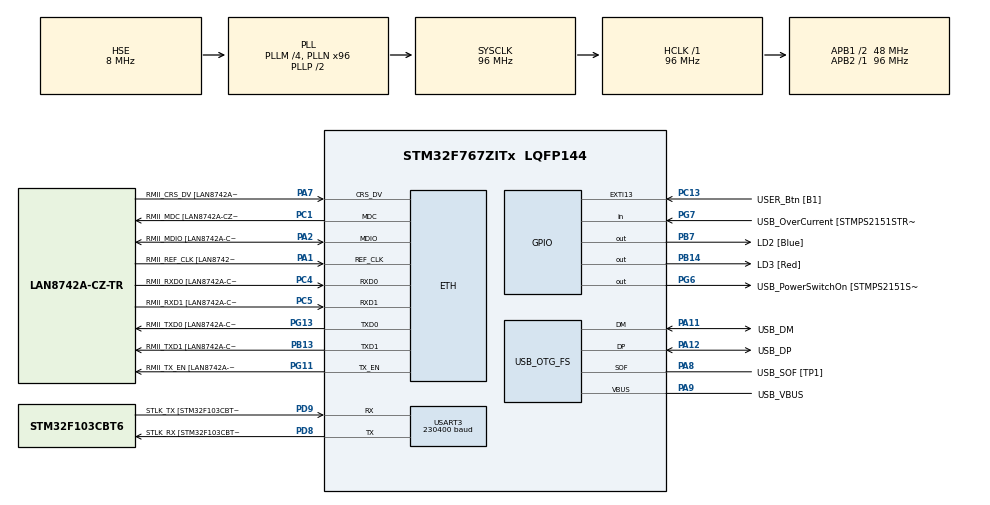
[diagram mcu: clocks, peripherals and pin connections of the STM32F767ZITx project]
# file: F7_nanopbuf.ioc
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Dma.Request0=USART3_RX
Dma.Request1=USART3_TX
Dma.USART3_RX.0.Direction=DMA_PERIPH_TO_MEMORY
Dma.USART3_RX.0.FIFOMode=DMA_FIFOMODE_DISABLE
Dma.USART3_RX.0.Instance=DMA1_Stream1
Dma.USART3_RX.0.MemDataAlignment=DMA_MDATAALIGN_BYTE
Dma.USART3_RX.0.MemInc=DMA_MINC_ENABLE
Dma.USART3_RX.0.Mode=DMA_NORMAL
Dma.USART3_RX.0.PeriphDataAlignment=DMA_PDATAALIGN_BYTE
Dma.USART3_RX.0.PeriphInc=DMA_PINC_DISABLE
Dma.USART3_RX.0.Priority=DMA_PRIORITY_LOW
Dma.USART3_TX.1.Direction=DMA_MEMORY_TO_PERIPH
Dma.USART3_TX.1.FIFOMode=DMA_FIFOMODE_DISABLE
Dma.USART3_TX.1.Instance=DMA1_Stream3
Dma.USART3_TX.1.MemDataAlignment=DMA_MDATAALIGN_BYTE
Dma.USART3_TX.1.MemInc=DMA_MINC_ENABLE
Dma.USART3_TX.1.Mode=DMA_NORMAL
Dma.USART3_TX.1.PeriphDataAlignment=DMA_PDATAALIGN_BYTE
Dma.USART3_TX.1.PeriphInc=DMA_PINC_DISABLE
Dma.USART3_TX.1.Priority=DMA_PRIORITY_LOW
ETH.MediaInterface=ETH_MEDIA_INTERFACE_RMII
ETH.PHY_Name=LAN8742A_PHY_ADDRESS
ETH.PHY_Value=0
ETH.PhyAddress=0
FREERTOS.MEMORY_ALLOCATION=2
FREERTOS.Tasks01=defaultTask,0,512,StartDefaultTask,Default,NULL,Static,defaultTaskBuffer,defaultTaskControlBlock
Mcu.Family=STM32F7
Mcu.Name=STM32F767ZITx
Mcu.Package=LQFP144
NVIC.DMA1_Stream1_IRQn=true\:5\:0\:false\:false\:true\:true\:false
NVIC.DMA1_Stream3_IRQn=true\:5\:0\:false\:false\:true\:true\:false
NVIC.PriorityGroup=NVIC_PRIORITYGROUP_4
NVIC.TIM1_UP_TIM10_IRQn=true\:0\:0\:false\:false\:true\:false\:false
NVIC.TimeBase=TIM1_UP_TIM10_IRQn
NVIC.TimeBaseIP=TIM1
NVIC.USART3_IRQn=true\:5\:0\:false\:false\:true\:true\:true
PA1.GPIO_Label=RMII_REF_CLK [LAN8742A-CZ-TR_REFCLK0]
PA1.Mode=RMII
PA1.Signal=ETH_REF_CLK
PA10.GPIO_Label=USB_ID
PA10.Signal=USB_OTG_FS_ID
PA11.GPIO_Label=USB_DM
PA11.Mode=Device_Only
PA11.Signal=USB_OTG_FS_DM
PA12.GPIO_Label=USB_DP
PA12.Mode=Device_Only
PA12.Signal=USB_OTG_FS_DP
PA13.GPIO_Label=TMS
PA13.Mode=Serial_Wire
PA13.Signal=SYS_JTMS-SWDIO
PA14.GPIO_Label=TCK
PA14.Mode=Serial_Wire
PA14.Signal=SYS_JTCK-SWCLK
PA2.GPIO_Label=RMII_MDIO [LAN8742A-CZ-TR_MDIO]
PA2.Mode=RMII
PA2.Signal=ETH_MDIO
PA7.GPIO_Label=RMII_CRS_DV [LAN8742A-CZ-TR_CRS_DV]
PA7.Mode=RMII
PA7.Signal=ETH_CRS_DV
PA8.GPIO_Label=USB_SOF [TP1]
PA8.Mode=Activate_SOF_FS
PA8.Signal=USB_OTG_FS_SOF
PA9.GPIO_Label=USB_VBUS
PA9.Mode=Activate_VBUS
PA9.Signal=USB_OTG_FS_VBUS
PB13.GPIO_Label=RMII_TXD1 [LAN8742A-CZ-TR_TXD1]
PB13.Mode=RMII
PB13.Signal=ETH_TXD1
PB14.GPIO_Label=LD3 [Red]
PB14.Signal=GPIO_Output
PB3.GPIO_Label=SWO
PB3.Signal=SYS_JTDO-SWO
PB7.GPIO_Label=LD2 [Blue]
PB7.Signal=GPIO_Output
PC1.GPIO_Label=RMII_MDC [LAN8742A-CZ-TR_MDC]
PC1.Mode=RMII
PC1.Signal=ETH_MDC
PC13.GPIO_Label=USER_Btn [B1]
PC13.Signal=GPXTI13
PC14/OSC32_IN.Mode=LSE-External-Oscillator
PC14/OSC32_IN.Signal=RCC_OSC32_IN
PC15/OSC32_OUT.Mode=LSE-External-Oscillator
PC15/OSC32_OUT.Signal=RCC_OSC32_OUT
PC4.GPIO_Label=RMII_RXD0 [LAN8742A-CZ-TR_RXD0]
PC4.Mode=RMII
PC4.Signal=ETH_RXD0
PC5.GPIO_Label=RMII_RXD1 [LAN8742A-CZ-TR_RXD1]
PC5.Mode=RMII
PC5.Signal=ETH_RXD1
PD8.GPIO_Label=STLK_RX [STM32F103CBT6_PA3]
PD8.Mode=Asynchronous
PD8.Signal=USART3_TX
PD9.GPIO_Label=STLK_TX [STM32F103CBT6_PA2]
PD9.Mode=Asynchronous
PD9.Signal=USART3_RX
PG11.GPIO_Label=RMII_TX_EN [LAN8742A-CZ-TR_TXEN]
PG11.Mode=RMII
PG11.Signal=ETH_TX_EN
PG13.GPIO_Label=RMII_TXD0 [LAN8742A-CZ-TR_TXD0]
PG13.Mode=RMII
PG13.Signal=ETH_TXD0
PG6.GPIO_Label=USB_PowerSwitchOn [STMPS2151STR_EN]
PG6.Signal=GPIO_Output
PG7.GPIO_Label=USB_OverCurrent [STMPS2151STR_FAULT]
PG7.Signal=GPIO_Input
PH0/OSC_IN.GPIO_Label=MCO [STM32F103CBT6_PA8]
PH0/OSC_IN.Mode=HSE-External-Clock-Source
PH0/OSC_IN.Signal=RCC_OSC_IN
PH1/OSC_OUT.Mode=HSE-External-Clock-Source
PH1/OSC_OUT.Signal=RCC_OSC_OUT
ProjectManager.HeapSize=0x200
ProjectManager.StackSize=0x400
ProjectManager.TargetToolchain=SW4STM32
RCC.48MHZClocksFreq_Value=24000000
RCC.AHBFreq_Value=96000000
RCC.APB1CLKDivider=RCC_HCLK_DIV2
RCC.APB1Freq_Value=48000000
RCC.APB1TimFreq_Value=96000000
RCC.APB2Freq_Value=96000000
RCC.APB2TimFreq_Value=96000000
RCC.CortexFreq_Value=96000000
RCC.HCLKFreq_Value=96000000
RCC.HSE_VALUE=8000000
RCC.HSI_VALUE=16000000
RCC.PLLM=4
RCC.PLLMUL=RCC_PLL_MUL9
RCC.PLLN=96
RCC.PLLQ=4
RCC.PRESCALERUSB=RCC_USBCLKSOURCE_PLL_DIV1_5
RCC.SYSCLKFreq_VALUE=96000000
RCC.SYSCLKSource=RCC_SYSCLKSOURCE_PLLCLK
RCC.SYSCLKSourceVirtual=RCC_SYSCLKSOURCE_PLLCLK
RCC.USBFreq_Value=48000000
RCC.VCOOutputFreq_Value=192000000
USART3.BaudRate=230400
USART3.VirtualMode-Asynchronous=VM_ASYNC
USB_OTG_FS.VirtualMode=Device_Only
VP_FREERTOS_VS_ENABLE.Mode=Enabled
VP_SYS_VS_tim1.Mode=TIM1
board=NUCLEO-F767ZI

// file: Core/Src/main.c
/**
  ******************************************************************************
  * @file           : main.c
  * @brief          : Main program body
  ******************************************************************************
  * This notice applies to any and all portions of this file
  * that are not between comment pairs USER CODE BEGIN and
  * USER CODE END. Other portions of this file, whether
  * inserted by the user or by software development tools
  * are owned by their respective copyright owners.
  *
  * Copyright (c) 2019 STMicroelectronics International N.V.
  * All rights reserved.
  *
  * Redistribution and use in source and binary forms, with or without
  * modification, are permitted, provided that the following conditions are met:
  *
  * 1. Redistribution of source code must retain the above copyright notice,
  *    this list of conditions and the following disclaimer.
  * 2. Redistributions in binary form must reproduce the above copyright notice,
  *    this list of conditions and the following disclaimer in the documentation
  *    and/or other materials provided with the distribution.
  * 3. Neither the name of STMicroelectronics nor the names of other
  *    contributors to this software may be used to endorse or promote products
  *    derived from this software without specific written permission.
  * 4. This software, including modifications and/or derivative works of this
  *    software, must execute solely and exclusively on microcontroller or
  *    microprocessor devices manufactured by or for STMicroelectronics.
  * 5. Redistribution and use of this software other than as permitted under
  *    this license is void and will automatically terminate your rights under
  *    this license.
  *
  * THIS SOFTWARE IS PROVIDED BY STMICROELECTRONICS AND CONTRIBUTORS "AS IS"
  * AND ANY EXPRESS, IMPLIED OR STATUTORY WARRANTIES, INCLUDING, BUT NOT
  * LIMITED TO, THE IMPLIED WARRANTIES OF MERCHANTABILITY, FITNESS FOR A
  * PARTICULAR PURPOSE AND NON-INFRINGEMENT OF THIRD PARTY INTELLECTUAL PROPERTY
  * RIGHTS ARE DISCLAIMED TO THE FULLEST EXTENT PERMITTED BY LAW. IN NO EVENT
  * SHALL STMICROELECTRONICS OR CONTRIBUTORS BE LIABLE FOR ANY DIRECT, INDIRECT,
  * INCIDENTAL, SPECIAL, EXEMPLARY, OR CONSEQUENTIAL DAMAGES (INCLUDING, BUT NOT
  * LIMITED TO, PROCUREMENT OF SUBSTITUTE GOODS OR SERVICES; LOSS OF USE, DATA,
  * OR PROFITS; OR BUSINESS INTERRUPTION) HOWEVER CAUSED AND ON ANY THEORY OF
  * LIABILITY, WHETHER IN CONTRACT, STRICT LIABILITY, OR TORT (INCLUDING
  * NEGLIGENCE OR OTHERWISE) ARISING IN ANY WAY OUT OF THE USE OF THIS SOFTWARE,
  * EVEN IF ADVISED OF THE POSSIBILITY OF SUCH DAMAGE.
  *
  ******************************************************************************
  */
#include "main.h"
#include "stm32f7xx_hal.h"
#include "cmsis_os.h"
#include "dma.h"
#include "eth.h"
#include "usart.h"
#include "usb_otg.h"
#include "gpio.h"

/* USER CODE BEGIN PV */
/* Private variables ---------------------------------------------------------*/

/* USER CODE END PV */

void SystemClock_Config(void);
void MX_FREERTOS_Init(void);

/* USER CODE BEGIN PFP */
/* Private function prototypes -----------------------------------------------*/

/* USER CODE END PFP */

int main(void)
{

  /* MCU Configuration----------------------------------------------------------*/

  /* Reset of all peripherals, Initializes the Flash interface and the Systick. */
  HAL_Init();

  /* Configure the system clock */
  SystemClock_Config();

  /* Initialize all configured peripherals */
  MX_GPIO_Init();
  MX_DMA_Init();
  //MX_ETH_Init();
  MX_USART3_UART_Init();
  MX_USB_OTG_FS_PCD_Init();

  /* Call init function for freertos objects (in freertos.c) */
  MX_FREERTOS_Init();

  /* Start scheduler */
  osKernelStart();

  /* We should never get here as control is now taken by the scheduler */

  /* Infinite loop */
  while (1)
  {

  }

}

void SystemClock_Config(void)
{

  RCC_OscInitTypeDef RCC_OscInitStruct;
  RCC_ClkInitTypeDef RCC_ClkInitStruct;
  RCC_PeriphCLKInitTypeDef PeriphClkInitStruct;

    /**Configure the main internal regulator output voltage
    */
  __HAL_RCC_PWR_CLK_ENABLE();

  __HAL_PWR_VOLTAGESCALING_CONFIG(PWR_REGULATOR_VOLTAGE_SCALE3);

    /**Initializes the CPU, AHB and APB busses clocks
    */
  RCC_OscInitStruct.OscillatorType = RCC_OSCILLATORTYPE_HSE;
  RCC_OscInitStruct.HSEState = RCC_HSE_BYPASS;
  RCC_OscInitStruct.PLL.PLLState = RCC_PLL_ON;
  RCC_OscInitStruct.PLL.PLLSource = RCC_PLLSOURCE_HSE;
  RCC_OscInitStruct.PLL.PLLM = 4;
  RCC_OscInitStruct.PLL.PLLN = 96;
  RCC_OscInitStruct.PLL.PLLP = RCC_PLLP_DIV2;
  RCC_OscInitStruct.PLL.PLLQ = 4;
  if (HAL_RCC_OscConfig(&RCC_OscInitStruct) != HAL_OK)
  {
    _Error_Handler(__FILE__, __LINE__);
  }

    /**Activate the Over-Drive mode
    */
  if (HAL_PWREx_EnableOverDrive() != HAL_OK)
  {
    _Error_Handler(__FILE__, __LINE__);
  }

    /**Initializes the CPU, AHB and APB busses clocks
    */
  RCC_ClkInitStruct.ClockType = RCC_CLOCKTYPE_HCLK|RCC_CLOCKTYPE_SYSCLK
                              |RCC_CLOCKTYPE_PCLK1|RCC_CLOCKTYPE_PCLK2;
  RCC_ClkInitStruct.SYSCLKSource = RCC_SYSCLKSOURCE_PLLCLK;
  RCC_ClkInitStruct.AHBCLKDivider = RCC_SYSCLK_DIV1;
  RCC_ClkInitStruct.APB1CLKDivider = RCC_HCLK_DIV2;
  RCC_ClkInitStruct.APB2CLKDivider = RCC_HCLK_DIV1;

  if (HAL_RCC_ClockConfig(&RCC_ClkInitStruct, FLASH_LATENCY_3) != HAL_OK)
  {
    _Error_Handler(__FILE__, __LINE__);
  }

  PeriphClkInitStruct.PeriphClockSelection = RCC_PERIPHCLK_USART3|RCC_PERIPHCLK_CLK48;
  PeriphClkInitStruct.Usart3ClockSelection = RCC_USART3CLKSOURCE_PCLK1;
  PeriphClkInitStruct.Clk48ClockSelection = RCC_CLK48SOURCE_PLL;
  if (HAL_RCCEx_PeriphCLKConfig(&PeriphClkInitStruct) != HAL_OK)
  {
    _Error_Handler(__FILE__, __LINE__);
  }

    /**Configure the Systick interrupt time
    */
  HAL_SYSTICK_Config(HAL_RCC_GetHCLKFreq()/1000);

    /**Configure the Systick
    */
  HAL_SYSTICK_CLKSourceConfig(SYSTICK_CLKSOURCE_HCLK);

  /* SysTick_IRQn interrupt configuration */
  HAL_NVIC_SetPriority(SysTick_IRQn, 15, 0);
}

void HAL_TIM_PeriodElapsedCallback(TIM_HandleTypeDef *htim)
{
  if (htim->Instance == TIM1) {
    HAL_IncTick();
  }
}

void _Error_Handler(char *file, int line)
{
  while(1)
  {
  }
}

/************************ (C) COPYRIGHT STMicroelectronics *****END OF FILE****/

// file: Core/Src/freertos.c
/* USER CODE BEGIN Header */
/**
  ******************************************************************************
  * File Name          : freertos.c
  * Description        : Code for freertos applications
  ******************************************************************************
  * This notice applies to any and all portions of this file
  * that are not between comment pairs USER CODE BEGIN and
  * USER CODE END. Other portions of this file, whether
  * inserted by the user or by software development tools
  * are owned by their respective copyright owners.
  *
  * Copyright (c) 2019 STMicroelectronics International N.V.
  * All rights reserved.
  *
  * Redistribution and use in source and binary forms, with or without
  * modification, are permitted, provided that the following conditions are met:
  *
  * 1. Redistribution of source code must retain the above copyright notice,
  *    this list of conditions and the following disclaimer.
  * 2. Redistributions in binary form must reproduce the above copyright notice,
  *    this list of conditions and the following disclaimer in the documentation
  *    and/or other materials provided with the distribution.
  * 3. Neither the name of STMicroelectronics nor the names of other
  *    contributors to this software may be used to endorse or promote products
  *    derived from this software without specific written permission.
  * 4. This software, including modifications and/or derivative works of this
  *    software, must execute solely and exclusively on microcontroller or
  *    microprocessor devices manufactured by or for STMicroelectronics.
  * 5. Redistribution and use of this software other than as permitted under
  *    this license is void and will automatically terminate your rights under
  *    this license.
  *
  * THIS SOFTWARE IS PROVIDED BY STMICROELECTRONICS AND CONTRIBUTORS "AS IS"
  * AND ANY EXPRESS, IMPLIED OR STATUTORY WARRANTIES, INCLUDING, BUT NOT
  * LIMITED TO, THE IMPLIED WARRANTIES OF MERCHANTABILITY, FITNESS FOR A
  * PARTICULAR PURPOSE AND NON-INFRINGEMENT OF THIRD PARTY INTELLECTUAL PROPERTY
  * RIGHTS ARE DISCLAIMED TO THE FULLEST EXTENT PERMITTED BY LAW. IN NO EVENT
  * SHALL STMICROELECTRONICS OR CONTRIBUTORS BE LIABLE FOR ANY DIRECT, INDIRECT,
  * INCIDENTAL, SPECIAL, EXEMPLARY, OR CONSEQUENTIAL DAMAGES (INCLUDING, BUT NOT
  * LIMITED TO, PROCUREMENT OF SUBSTITUTE GOODS OR SERVICES; LOSS OF USE, DATA,
  * OR PROFITS; OR BUSINESS INTERRUPTION) HOWEVER CAUSED AND ON ANY THEORY OF
  * LIABILITY, WHETHER IN CONTRACT, STRICT LIABILITY, OR TORT (INCLUDING
  * NEGLIGENCE OR OTHERWISE) ARISING IN ANY WAY OUT OF THE USE OF THIS SOFTWARE,
  * EVEN IF ADVISED OF THE POSSIBILITY OF SUCH DAMAGE.
  *
  ******************************************************************************
  */
/* USER CODE END Header */

#include "FreeRTOS.h"
#include "task.h"
#include "main.h"
#include "cmsis_os.h"

/* USER CODE BEGIN Includes */
#include "usart.h"
#include "gpio.h"
#include <pb_common.h>
#include <pb_encode.h>
#include <pb_decode.h>
#include "RobotCmd.pb.h"
/* USER CODE END Includes */

/* USER CODE BEGIN Variables */
const uint32_t rx_signal = 0x00000005;
const uint32_t tx_signal = 0x00000050;
/* USER CODE END Variables */
osThreadId defaultTaskHandle;
uint32_t defaultTaskBuffer[ 512 ];
osStaticThreadDef_t defaultTaskControlBlock;

void StartDefaultTask(void const * argument);

void MX_FREERTOS_Init(void); /* (MISRA C 2004 rule 8.1) */

/* GetIdleTaskMemory prototype (linked to static allocation support) */
void vApplicationGetIdleTaskMemory( StaticTask_t **ppxIdleTaskTCBBuffer, StackType_t **ppxIdleTaskStackBuffer, uint32_t *pulIdleTaskStackSize );

/* USER CODE BEGIN GET_IDLE_TASK_MEMORY */
static StaticTask_t xIdleTaskTCBBuffer;
static StackType_t xIdleStack[configMINIMAL_STACK_SIZE];

void vApplicationGetIdleTaskMemory( StaticTask_t **ppxIdleTaskTCBBuffer, StackType_t **ppxIdleTaskStackBuffer, uint32_t *pulIdleTaskStackSize )
{
  *ppxIdleTaskTCBBuffer = &xIdleTaskTCBBuffer;
  *ppxIdleTaskStackBuffer = &xIdleStack[0];
  *pulIdleTaskStackSize = configMINIMAL_STACK_SIZE;
  /* place for user code */
}
/* USER CODE END GET_IDLE_TASK_MEMORY */

void MX_FREERTOS_Init(void) {

  /* Create the thread(s) */
  /* definition and creation of defaultTask */
  osThreadStaticDef(defaultTask, StartDefaultTask, osPriorityNormal, 0, 512, defaultTaskBuffer, &defaultTaskControlBlock);
  defaultTaskHandle = osThreadCreate(osThread(defaultTask), NULL);

}

void StartDefaultTask(void const * argument)
{

  /* USER CODE BEGIN StartDefaultTask */
  /* Infinite loop */
  for(;;)
  {
    uint8_t buffer[128] = {};
    const size_t message_length = 5;
    bool status = false;

    Hello message = Hello_init_zero;
    // Loop on receiving bytes and echoing them back.

    HAL_UART_Receive_DMA(&huart3, (uint8_t*)buffer, 7);
    osSignalWait(rx_signal, osWaitForever);

    pb_istream_t stream = pb_istream_from_buffer(buffer, sizeof(buffer));
    status = pb_decode(&stream, Hello_fields, &message);
    if (!status)
    {
        HAL_GPIO_WritePin(LD2_GPIO_Port, LD2_Pin, SET);
    }

    uint8_t *recv_data = (uint8_t*)&message.message.bytes;

    uint8_t send_data[5] = {};

    // Copy received data to send
    for (int i = 0; i < message_length; i++)
    {
        send_data[i] = recv_data[i];
    }
    // Mark a character of the data to send so we know it's from the MCU
    send_data[4] = 'A';

    Hello message_out = Hello_init_zero;

    pb_ostream_t stream_out = pb_ostream_from_buffer(buffer, sizeof(buffer));

    for (int i = 0; i < message_length; i++)
    {
    	message_out.message.bytes[i] = send_data[i];
    }
    message_out.message.size = 5;

    status = pb_encode(&stream_out, Hello_fields, &message_out);
    size_t message_length_out = stream_out.bytes_written;

    if (!status)
    {
    	HAL_GPIO_WritePin(LD2_GPIO_Port, LD2_Pin, SET);
    }

    HAL_UART_Transmit_DMA(&huart3, (uint8_t*)buffer, message_length_out);
    osSignalWait(tx_signal, osWaitForever);
  }
  /* USER CODE END StartDefaultTask */
}

/* USER CODE BEGIN Application */

void HAL_UART_TxCpltCallback(UART_HandleTypeDef *huart) {
    if (huart == &huart3)
    {
        osSignalSet(defaultTaskHandle, tx_signal);
    }
}

void HAL_UART_RxCpltCallback(UART_HandleTypeDef *huart) {
	if (huart == &huart3)
	{
	    osSignalSet(defaultTaskHandle, rx_signal);
	}
}

void HAL_UART_ErrorCallback(UART_HandleTypeDef *huart)
{
    HAL_UART_GetError(huart);
}

/* USER CODE END Application */

/************************ (C) COPYRIGHT STMicroelectronics *****END OF FILE****/
